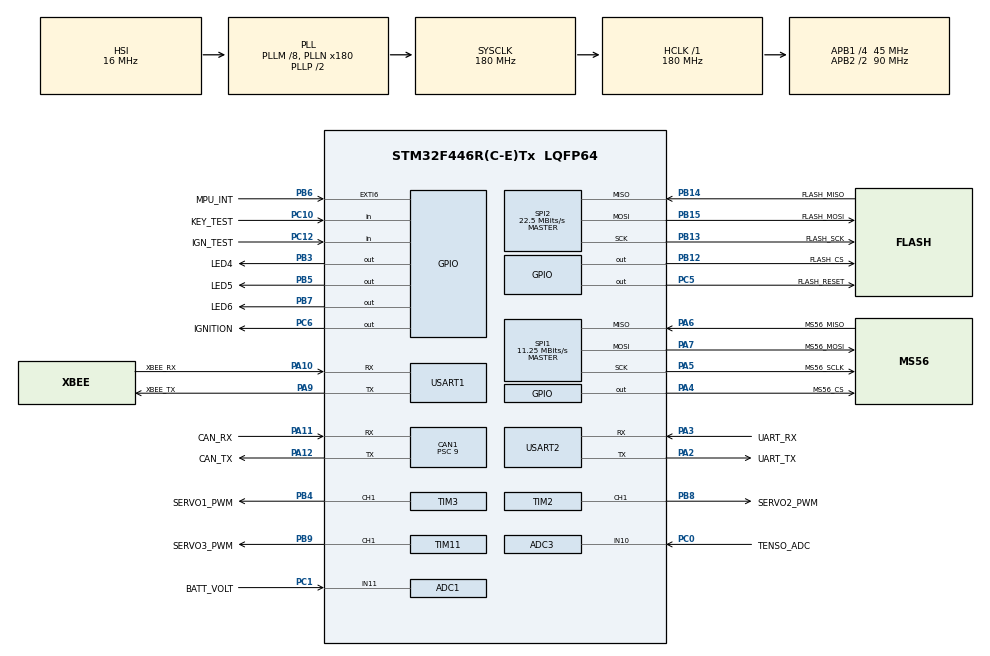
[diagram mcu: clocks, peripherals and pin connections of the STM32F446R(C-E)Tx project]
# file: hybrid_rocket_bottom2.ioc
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ADC1.Channel-0\#ChannelRegularConversion=ADC_CHANNEL_11
ADC1.ClockPrescaler=ADC_CLOCK_SYNC_PCLK_DIV8
ADC1.ContinuousConvMode=DISABLE
ADC1.DMAContinuousRequests=ENABLE
ADC1.DataAlign=ADC_DATAALIGN_RIGHT
ADC1.DiscontinuousConvMode=DISABLE
ADC1.EOCSelection=ADC_EOC_SINGLE_CONV
ADC1.EnableAnalogWatchDog=false
ADC1.ExternalTrigConv=ADC_EXTERNALTRIGCONV_T8_TRGO
ADC1.ExternalTrigConvEdge=ADC_EXTERNALTRIGCONVEDGE_RISING
ADC1.InjNumberOfConversion=0
ADC1.NbrOfConversion=1
ADC1.NbrOfConversionFlag=1
ADC1.Rank-0\#ChannelRegularConversion=1
ADC1.Resolution=ADC_RESOLUTION_12B
ADC1.SamplingTime-0\#ChannelRegularConversion=ADC_SAMPLETIME_480CYCLES
ADC1.ScanConvMode=DISABLE
ADC1.master=1
ADC3.Channel-0\#ChannelRegularConversion=ADC_CHANNEL_10
ADC3.ClockPrescaler=ADC_CLOCK_SYNC_PCLK_DIV8
ADC3.ContinuousConvMode=DISABLE
ADC3.DMAContinuousRequests=ENABLE
ADC3.DataAlign=ADC_DATAALIGN_RIGHT
ADC3.DiscontinuousConvMode=DISABLE
ADC3.EOCSelection=ADC_EOC_SINGLE_CONV
ADC3.EnableAnalogWatchDog=false
ADC3.ExternalTrigConv=ADC_EXTERNALTRIGCONV_T3_TRGO
ADC3.ExternalTrigConvEdge=ADC_EXTERNALTRIGCONVEDGE_RISING
ADC3.InjNumberOfConversion=0
ADC3.NbrOfConversion=1
ADC3.NbrOfConversionFlag=1
ADC3.Rank-0\#ChannelRegularConversion=1
ADC3.Resolution=ADC_RESOLUTION_12B
ADC3.SamplingTime-0\#ChannelRegularConversion=ADC_SAMPLETIME_480CYCLES
ADC3.ScanConvMode=DISABLE
CAN1.BS1=CAN_BS1_6TQ
CAN1.BS2=CAN_BS2_6TQ
CAN1.CalculateTimeBit=1066
CAN1.CalculateTimeQuantum=200.0
CAN1.Mode=CAN_MODE_NORMAL
CAN1.Prescaler=9
CAN1.RFLM=ENABLE
CAN1.TXFP=ENABLE
Dma.ADC1.5.Direction=DMA_PERIPH_TO_MEMORY
Dma.ADC1.5.FIFOMode=DMA_FIFOMODE_DISABLE
Dma.ADC1.5.Instance=DMA2_Stream4
Dma.ADC1.5.MemDataAlignment=DMA_MDATAALIGN_HALFWORD
Dma.ADC1.5.MemInc=DMA_MINC_ENABLE
Dma.ADC1.5.Mode=DMA_CIRCULAR
Dma.ADC1.5.PeriphDataAlignment=DMA_PDATAALIGN_HALFWORD
Dma.ADC1.5.PeriphInc=DMA_PINC_DISABLE
Dma.ADC1.5.Priority=DMA_PRIORITY_LOW
Dma.ADC3.4.Direction=DMA_PERIPH_TO_MEMORY
Dma.ADC3.4.FIFOMode=DMA_FIFOMODE_DISABLE
Dma.ADC3.4.Instance=DMA2_Stream1
Dma.ADC3.4.MemDataAlignment=DMA_MDATAALIGN_HALFWORD
Dma.ADC3.4.MemInc=DMA_MINC_ENABLE
Dma.ADC3.4.Mode=DMA_CIRCULAR
Dma.ADC3.4.PeriphDataAlignment=DMA_PDATAALIGN_HALFWORD
Dma.ADC3.4.PeriphInc=DMA_PINC_DISABLE
Dma.ADC3.4.Priority=DMA_PRIORITY_LOW
Dma.Request0=SPI1_RX
Dma.Request1=SPI1_TX
Dma.Request2=SPI2_RX
Dma.Request3=SPI2_TX
Dma.Request4=ADC3
Dma.Request5=ADC1
Dma.SPI1_RX.0.Direction=DMA_PERIPH_TO_MEMORY
Dma.SPI1_RX.0.FIFOMode=DMA_FIFOMODE_DISABLE
Dma.SPI1_RX.0.Instance=DMA2_Stream0
Dma.SPI1_RX.0.MemDataAlignment=DMA_MDATAALIGN_BYTE
Dma.SPI1_RX.0.MemInc=DMA_MINC_ENABLE
Dma.SPI1_RX.0.Mode=DMA_NORMAL
Dma.SPI1_RX.0.PeriphDataAlignment=DMA_PDATAALIGN_BYTE
Dma.SPI1_RX.0.PeriphInc=DMA_PINC_DISABLE
Dma.SPI1_RX.0.Priority=DMA_PRIORITY_LOW
Dma.SPI1_TX.1.Direction=DMA_MEMORY_TO_PERIPH
Dma.SPI1_TX.1.FIFOMode=DMA_FIFOMODE_DISABLE
Dma.SPI1_TX.1.Instance=DMA2_Stream3
Dma.SPI1_TX.1.MemDataAlignment=DMA_MDATAALIGN_BYTE
Dma.SPI1_TX.1.MemInc=DMA_MINC_ENABLE
Dma.SPI1_TX.1.Mode=DMA_NORMAL
Dma.SPI1_TX.1.PeriphDataAlignment=DMA_PDATAALIGN_BYTE
Dma.SPI1_TX.1.PeriphInc=DMA_PINC_DISABLE
Dma.SPI1_TX.1.Priority=DMA_PRIORITY_LOW
Dma.SPI2_RX.2.Direction=DMA_PERIPH_TO_MEMORY
Dma.SPI2_RX.2.FIFOMode=DMA_FIFOMODE_DISABLE
Dma.SPI2_RX.2.Instance=DMA1_Stream3
Dma.SPI2_RX.2.MemDataAlignment=DMA_MDATAALIGN_BYTE
Dma.SPI2_RX.2.MemInc=DMA_MINC_ENABLE
Dma.SPI2_RX.2.Mode=DMA_NORMAL
Dma.SPI2_RX.2.PeriphDataAlignment=DMA_PDATAALIGN_BYTE
Dma.SPI2_RX.2.PeriphInc=DMA_PINC_DISABLE
Dma.SPI2_RX.2.Priority=DMA_PRIORITY_LOW
Dma.SPI2_TX.3.Direction=DMA_MEMORY_TO_PERIPH
Dma.SPI2_TX.3.FIFOMode=DMA_FIFOMODE_DISABLE
Dma.SPI2_TX.3.Instance=DMA1_Stream4
Dma.SPI2_TX.3.MemDataAlignment=DMA_MDATAALIGN_BYTE
Dma.SPI2_TX.3.MemInc=DMA_MINC_ENABLE
Dma.SPI2_TX.3.Mode=DMA_NORMAL
Dma.SPI2_TX.3.PeriphDataAlignment=DMA_PDATAALIGN_BYTE
Dma.SPI2_TX.3.PeriphInc=DMA_PINC_DISABLE
Dma.SPI2_TX.3.Priority=DMA_PRIORITY_LOW
Mcu.Family=STM32F4
Mcu.Name=STM32F446R(C-E)Tx
Mcu.Package=LQFP64
NVIC.ADC_IRQn=true\:0\:0\:false\:false\:true\:true
NVIC.CAN1_RX0_IRQn=true\:0\:0\:false\:false\:true\:true
NVIC.CAN1_RX1_IRQn=true\:0\:0\:false\:false\:true\:true
NVIC.CAN1_TX_IRQn=true\:0\:0\:false\:false\:true\:true
NVIC.DMA1_Stream3_IRQn=true\:0\:0\:false\:false\:true\:false
NVIC.DMA1_Stream4_IRQn=true\:0\:0\:false\:false\:true\:false
NVIC.DMA2_Stream0_IRQn=true\:0\:0\:false\:false\:true\:false
NVIC.DMA2_Stream1_IRQn=true\:0\:0\:false\:false\:true\:false
NVIC.DMA2_Stream3_IRQn=true\:0\:0\:false\:false\:true\:false
NVIC.DMA2_Stream4_IRQn=true\:0\:0\:false\:false\:true\:false
NVIC.PriorityGroup=NVIC_PRIORITYGROUP_4
NVIC.SPI1_IRQn=true\:0\:0\:false\:false\:true\:true
NVIC.SPI2_IRQn=true\:0\:0\:false\:false\:true\:true
NVIC.TIM2_IRQn=true\:0\:0\:false\:false\:true\:true
NVIC.TIM3_IRQn=true\:0\:0\:false\:false\:true\:true
NVIC.TIM6_DAC_IRQn=true\:0\:0\:false\:false\:true\:true
NVIC.TIM8_UP_TIM13_IRQn=true\:0\:0\:false\:false\:true\:true
NVIC.USART1_IRQn=true\:0\:0\:false\:false\:true\:true
NVIC.USART2_IRQn=true\:0\:0\:false\:false\:true\:true
PA10.GPIO_Label=XBEE_RX
PA10.Mode=Asynchronous
PA10.Signal=USART1_RX
PA11.GPIO_Label=CAN_RX
PA11.Mode=Master
PA11.Signal=CAN1_RX
PA12.GPIO_Label=CAN_TX
PA12.Mode=Master
PA12.Signal=CAN1_TX
PA13.GPIO_Label=SWDIO
PA13.Mode=Serial_Wire
PA13.Signal=SYS_JTMS-SWDIO
PA14.GPIO_Label=SWCLK
PA14.Mode=Serial_Wire
PA14.Signal=SYS_JTCK-SWCLK
PA2.GPIO_Label=UART_TX
PA2.Mode=Asynchronous
PA2.Signal=USART2_TX
PA3.GPIO_Label=UART_RX
PA3.Mode=Asynchronous
PA3.Signal=USART2_RX
PA4.GPIO_Label=MS56_CS
PA4.Signal=GPIO_Output
PA5.GPIO_Label=MS56_SCLK
PA5.Mode=Full_Duplex_Master
PA5.Signal=SPI1_SCK
PA6.GPIO_Label=MS56_MISO
PA6.GPIO_PuPd=GPIO_NOPULL
PA6.Mode=Full_Duplex_Master
PA6.Signal=SPI1_MISO
PA7.GPIO_Label=MS56_MOSI
PA7.Mode=Full_Duplex_Master
PA7.Signal=SPI1_MOSI
PA9.GPIO_Label=XBEE_TX
PA9.Mode=Asynchronous
PA9.Signal=USART1_TX
PB12.GPIO_Label=FLASH_CS
PB12.Signal=GPIO_Output
PB13.GPIO_Label=FLASH_SCK
PB13.Mode=Full_Duplex_Master
PB13.Signal=SPI2_SCK
PB14.GPIO_Label=FLASH_MISO
PB14.Mode=Full_Duplex_Master
PB14.Signal=SPI2_MISO
PB15.GPIO_Label=FLASH_MOSI
PB15.Mode=Full_Duplex_Master
PB15.Signal=SPI2_MOSI
PB3.GPIO_Label=LED4
PB3.Signal=GPIO_Output
PB4.GPIO_Label=SERVO1_PWM
PB4.Signal=S_TIM3_CH1
PB5.GPIO_Label=LED5
PB5.Signal=GPIO_Output
PB6.GPIO_Label=MPU_INT
PB6.Signal=GPXTI6
PB7.GPIO_Label=LED6
PB7.Signal=GPIO_Output
PB8.GPIO_Label=SERVO2_PWM
PB8.Signal=S_TIM2_CH1_ETR
PB9.GPIO_Label=SERVO3_PWM
PB9.Signal=S_TIM11_CH1
PC0.GPIO_Label=TENSO_ADC
PC0.Signal=ADCx_IN10
PC1.GPIO_Label=BATT_VOLT
PC1.Signal=ADCx_IN11
PC10.GPIO_Label=KEY_TEST
PC10.GPIO_PuPd=GPIO_PULLUP
PC10.Signal=GPIO_Input
PC12.GPIO_Label=IGN_TEST
PC12.GPIO_PuPd=GPIO_PULLUP
PC12.Signal=GPIO_Input
PC5.GPIO_Label=FLASH_RESET
PC5.PinState=GPIO_PIN_SET
PC5.Signal=GPIO_Output
PC6.GPIO_Label=IGNITION
PC6.Signal=GPIO_Output
PH0-OSC_IN.Signal=RCC_OSC_IN
PH1-OSC_OUT.Signal=RCC_OSC_OUT
ProjectManager.HeapSize=0x200
ProjectManager.StackSize=0x400
ProjectManager.TargetToolchain=SW4STM32
RCC.AHBFreq_Value=180000000
RCC.APB1CLKDivider=RCC_HCLK_DIV4
RCC.APB1Freq_Value=45000000
RCC.APB1TimFreq_Value=90000000
RCC.APB2CLKDivider=RCC_HCLK_DIV2
RCC.APB2Freq_Value=90000000
RCC.APB2TimFreq_Value=180000000
RCC.CortexFreq_Value=180000000
RCC.HCLKFreq_Value=180000000
RCC.HSE_VALUE=0.0000080
RCC.PLLM=8
RCC.PLLN=180
RCC.PLLQ=8
RCC.SYSCLKFreq_VALUE=180000000
RCC.SYSCLKSource=RCC_SYSCLKSOURCE_PLLCLK
RCC.USBFreq_Value=45000000
RCC.VCOOutputFreq_Value=360000000
SH.ADCx_IN10.0=ADC3_IN10,IN10
SH.ADCx_IN10.1=ADC2_IN10
SH.ADCx_IN11.0=ADC1_IN11,IN11
SH.S_TIM11_CH1.0=TIM11_CH1,PWM Generation1 CH1
SH.S_TIM2_CH1_ETR.0=TIM2_CH1,PWM Generation1 CH1
SH.S_TIM3_CH1.0=TIM3_CH1,PWM Generation1 CH1
SPI1.BaudRatePrescaler=SPI_BAUDRATEPRESCALER_8
SPI1.CalculateBaudRate=11.25 MBits/s
SPI1.Direction=SPI_DIRECTION_2LINES
SPI1.Mode=SPI_MODE_MASTER
SPI1.VirtualType=VM_MASTER
SPI2.BaudRatePrescaler=SPI_BAUDRATEPRESCALER_2
SPI2.CLKPhase=SPI_PHASE_1EDGE
SPI2.CLKPolarity=SPI_POLARITY_LOW
SPI2.CalculateBaudRate=22.5 MBits/s
SPI2.Direction=SPI_DIRECTION_2LINES
SPI2.Mode=SPI_MODE_MASTER
SPI2.VirtualType=VM_MASTER
TIM11.Channel=TIM_CHANNEL_1
TIM11.Period=0
TIM11.Prescaler=0
TIM2.Channel-PWM\ Generation1\ CH1=TIM_CHANNEL_1
TIM2.Period=99
TIM2.Prescaler=17999
TIM2.TIM_MasterOutputTrigger=TIM_TRGO_RESET
TIM3.Channel-PWM\ Generation1\ CH1=TIM_CHANNEL_1
TIM3.Period=99
TIM3.Prescaler=17999
TIM3.TIM_MasterOutputTrigger=TIM_TRGO_UPDATE
TIM6.Period=8999
TIM6.Prescaler=9999
TIM8.Period=99
TIM8.Prescaler=17999
TIM8.TIM_MasterOutputTrigger=TIM_TRGO_UPDATE
USART1.VirtualMode=VM_ASYNC
USART2.VirtualMode=VM_ASYNC
VP_CRC_VS_CRC.Mode=CRC_Activate
VP_TIM11_VS_ClockSourceINT.Mode=Enable_Timer
VP_TIM2_VS_ClockSourceINT.Mode=Internal
VP_TIM6_VS_ClockSourceINT.Mode=Enable_Timer
VP_TIM8_VS_ClockSourceINT.Mode=Internal
board=hybrid_rocket_bottom2

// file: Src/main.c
/**
  ******************************************************************************
  * @file           : main.c
  * @brief          : Main program body
  ******************************************************************************
  ** This notice applies to any and all portions of this file
  * that are not between comment pairs USER CODE BEGIN and
  * USER CODE END. Other portions of this file, whether
  * inserted by the user or by software development tools
  * are owned by their respective copyright owners.
  *
  * COPYRIGHT(c) 2019 STMicroelectronics
  *
  * Redistribution and use in source and binary forms, with or without modification,
  * are permitted provided that the following conditions are met:
  *   1. Redistributions of source code must retain the above copyright notice,
  *      this list of conditions and the following disclaimer.
  *   2. Redistributions in binary form must reproduce the above copyright notice,
  *      this list of conditions and the following disclaimer in the documentation
  *      and/or other materials provided with the distribution.
  *   3. Neither the name of STMicroelectronics nor the names of its contributors
  *      may be used to endorse or promote products derived from this software
  *      without specific prior written permission.
  *
  * THIS SOFTWARE IS PROVIDED BY THE COPYRIGHT HOLDERS AND CONTRIBUTORS "AS IS"
  * AND ANY EXPRESS OR IMPLIED WARRANTIES, INCLUDING, BUT NOT LIMITED TO, THE
  * IMPLIED WARRANTIES OF MERCHANTABILITY AND FITNESS FOR A PARTICULAR PURPOSE ARE
  * DISCLAIMED. IN NO EVENT SHALL THE COPYRIGHT HOLDER OR CONTRIBUTORS BE LIABLE
  * FOR ANY DIRECT, INDIRECT, INCIDENTAL, SPECIAL, EXEMPLARY, OR CONSEQUENTIAL
  * DAMAGES (INCLUDING, BUT NOT LIMITED TO, PROCUREMENT OF SUBSTITUTE GOODS OR
  * SERVICES; LOSS OF USE, DATA, OR PROFITS; OR BUSINESS INTERRUPTION) HOWEVER
  * CAUSED AND ON ANY THEORY OF LIABILITY, WHETHER IN CONTRACT, STRICT LIABILITY,
  * OR TORT (INCLUDING NEGLIGENCE OR OTHERWISE) ARISING IN ANY WAY OUT OF THE USE
  * OF THIS SOFTWARE, EVEN IF ADVISED OF THE POSSIBILITY OF SUCH DAMAGE.
  *
  ******************************************************************************
  */
#include "main.h"
#include "stm32f4xx_hal.h"
#include "adc.h"
#include "can.h"
#include "crc.h"
#include "dma.h"
#include "spi.h"
#include "tim.h"
#include "usart.h"
#include "gpio.h"

/* USER CODE BEGIN Includes */
#include "SS_MS5607.h"
#include "SS_Grazyna_xbee.h"
#include "SS_it.h"
#include "SS_support.h"
#include "SS_servos.h"
#include "math.h"
#include "SS_ignition.h"
#include "SS_can.h"
#include "SS_Borys_adc.h"
#include "SS_S25FL.h"
#include "SS_Borys_adc.h"
/* USER CODE END Includes */

/* USER CODE BEGIN PV */
/* Private variables ---------------------------------------------------------*/
uint8_t Received;
uint32_t raw_tenso;
uint32_t scaled_tenso;
uint32_t tmp;
uint32_t scaled_tenso_av;
//uint32_t scaled_tenso_av_prev = 0;
uint32_t wbytes;
//FATFS fatfs;
//FIL measurement_file;
//FRESULT result;
uint8_t differenceTenso = 0;
int16_t close_servo_altitude = 2500;
int32_t average_altitude = 0;
struct MS5607 ms5607;
uint8_t SET_ALTITUDE = 0;
int32_t can_data;
int32_t ref_pres;
/* USER CODE END PV */

void SystemClock_Config(void);

/* USER CODE BEGIN PFP */
/* Private function prototypes -----------------------------------------------*/

/* USER CODE END PFP */

int main(void)
{
  /* USER CODE BEGIN 1 */
	 uint8_t fly_stage;

	 int32_t altitude_rocket = 0;
	 int32_t pressure_rocket = 0;
	 int16_t average_pressure = 0;
	 int32_t prev_avarage_altitude = 80000000;
	 uint8_t arrays[2];
	 uint8_t data[8];
	 uint8_t sprint_length;
	 uint8_t i = 0;
	 uint32_t counter_can = 0;
	 uint8_t counter = 0;
  /* USER CODE END 1 */

  /* MCU Configuration----------------------------------------------------------*/

  /* Reset of all peripherals, Initializes the Flash interface and the Systick. */
  HAL_Init();

  /* Configure the system clock */
  SystemClock_Config();

  /* Initialize all configured peripherals */
  MX_GPIO_Init();
  MX_DMA_Init();
  MX_ADC1_Init();
  MX_CAN1_Init();
  MX_SPI2_Init();
  MX_TIM2_Init();
  MX_TIM3_Init();
  MX_USART1_UART_Init();
  MX_USART2_UART_Init();
  MX_SPI1_Init();
  MX_TIM6_Init();
  MX_TIM11_Init();
  MX_ADC3_Init();
  MX_TIM8_Init();
  MX_CRC_Init();
  /* USER CODE BEGIN 2 */

  	 HAL_TIM_Base_Start_IT(&htim6);

  	 HAL_ADC_Start_IT(&hadc3);
  	 //HAL_ADC_Start(&hadc1);
	 SS_MS56_init(&ms5607);
	 SS_grazyna_init();
	 SS_can_start();
	 SS_s25fl_reset();
	 SS_borys_adc_init();
	 HAL_GPIO_WritePin(IGNITION_GPIO_Port,IGNITION_Pin,RESET);
	 SS_servo_init_all();
	 //close_servo_altitude = 2600;

	 /*  result = f_mount(&fatfs, "", 0);
  	result = f_open(&measurement_file, "Staszek.txt", FA_CREATE_ALWAYS | FA_WRITE);
  	result = f_write(&measurement_file, "chuuuuuj\n", 6, (void *)&wbytes);
  	result = f_close(&measurement_file);
  	SS_borys_adc_init();
*/
	  	while(i<=10)
		{
			SS_MS56_read_convert_non_polling(&ms5607);
			SS_MS56_calculate_average_press(&ms5607, 10);
			if(ms56_stage == 0)
				 i++;
		}
  		SS_MS56_set_ref_press(&ms5607);
  		ref_pres = SS_MS56_get_ref_press(&ms5607);

  /* USER CODE END 2 */

  /* Infinite loop */
  while (1)
  {

  /* USER CODE BEGIN 3 */
/*
 *
	 		  	  HAL_ADC_PollForConversion(&hadc1,500);
	 		  	  raw_tenso=HAL_ADC_GetValue(&hadc1);
	 		  	  scaled_tenso=100.0*(200.0*((3.3*raw_tenso/4.0950)/247.42)/10.0);
	 		  	  HAL_ADC_Start(&hadc1);
	 		 	  if(n<20)
	 		 	  {
	 		 		  n++;
	 		 		  tmp += scaled_tenso;
	 			  }
	 		 	  else
	 		 	  {

	 		 		  scaled_tenso_av = tmp/2000.0;
	 		 		  n=0;
	 		 		  tmp = 0;
	 		 	  }

		  HAL_ADC_PollForConversion(&hadc1,500);
		  raw_tenso=HAL_ADC_GetValue(&hadc1);
		  scaled_tenso=100.0*(10.0*((3.3*raw_tenso/4.0950)/247.42)/9.0);
		  size = sprintf(data, "%d\n\r", scaled_tenso);
		  HAL_UART_Transmit(&huart2,data,size,500);
		  HAL_ADC_Start(&hadc1);
*/

	  	  //HAL_GPIO_TogglePin(LED4_GPIO_Port,LED4_Pin);
	  	  //SS_can_tx_no_data(CAN_CZAPLA_ON);
	  	  //HAL_Delay(1000);
	  	  //SS_can_tx_no_data(CAN_CZAPLA_OFF);
	  	  //HAL_Delay(1000);
		//SS_can_tx_no_data(CAN_ROMEK_TEST_CAN);
	  	  //SS_MS56_read_convert(&ms5607);

	  	  //SS_can_tx_no_data(CAN_SENSEI_INCLINATION);
	  	  //HAL_Delay(400);
	 // HAL_GPIO_WritePin(LED4_GPIO_Port,LED4_Pin,SET);
	  	  if(SS_grazyna_get_valid_rcv_flag())
		  {
			  SS_grazyna_handle_received();
		  }

		  SS_MS56_read_convert_non_polling(&ms5607);

		  //ALTITUDE
		  ///////zmienic pod grazyne zeby dzialala, zwmienic pomiar ms5607 cisnienie podczas startu
		  ////////////
		  ////////////
		  //////////
		  ///////////
		  //////////

		  SS_servo_oxidizer_open();
		  HAL_Delay(2000);
		  SS_servo_oxidizer_close();
		  //PRESSURE
		  pressure_rocket = SS_MS56_get_read_convert(&ms5607);
		  SS_MS56_calculate_average_press(&ms5607,3);
		  average_pressure = SS_MS56_get_average_press(&ms5607);

		  altitude_rocket = SS_MS56_get_altitude(&ms5607);
	  	  SS_MS56_calculate_average_altitiude(&ms5607,3);
		  average_altitude = SS_MS56_get_average_altitude(&ms5607);
		  //HAL_UART_Transmit(&huart2,0x0F,20100);
  		  SS_MS56_calculate_altitude_flash(&ms5607);

		 /* if(TEST_OPEN_SERVO)
		  {
			  SS_can_tx_no_data(CAN_SENSEI_LECIM);
			  TEST_OPEN_SERVO=0;
		  }*/
		  if(ERASE_FLASH)
		  {
				HAL_GPIO_WritePin(LED5_GPIO_Port,LED5_Pin,SET);
				SS_s25fl_erase_full_chip();
				HAL_GPIO_WritePin(LED4_GPIO_Port,LED4_Pin,SET);
				HAL_GPIO_WritePin(LED5_GPIO_Port,LED5_Pin,RESET);
		  }
	 	  if(WRITE_FLASH)
	  	  {
	 		  HAL_GPIO_WritePin(LED6_GPIO_Port,LED6_Pin,SET);
	  		  SS_MS56_calculate_average_press_flash(&ms5607,5);
	  		  SS_MS56_calculate_altitude_flash(&ms5607);
	  		  SS_MS56_calculate_average_temp_flash(&ms5607,5);
	 		  /*if(zmienna==1)
	 		  {
	  		  SS_MS56_calculate_tenso_flash();
	  		  zmienna = 0;
	 		  }*/

	  	  }
	 	  if(TEST_STASZEK_SENSEI_MES)
	 	  {

	 		  if(counter_can >= 5000)
	 		  {
		 		  SS_can_tx_no_data(CAN_STASZEK_SENSEI_MES);
		 		  TEST_STASZEK_SENSEI_MES = 0;
		 		  counter_can = 0;
		 		  counter++;
		 		  if(counter == 5)
		 		  {
		 			  TEST_STASZEK_SENSEI_MES = 0;
		 		  }
	 		  }
	 		  counter_can++;

	 	  }
	 	 /* if(SERVO_OPENED)
	  	  {

	  		  int8_t cnt1 = 1;
	  		  if(prev_avarage_altitude > average_altitude)
	  		  {
	  			  //HAL_GPIO_WritePin(LED4_GPIO_Port,LED4_Pin,SET);
	  			  cnt1++;
	  			  prev_avarage_altitude = average_altitude;
	  		  }
	  		  else if(cnt1>0) cnt1--;

	  		  if(cnt1 > 10)
	  		  {
	  			SS_servo_oxidizer_close();
	  			SS_can_tx_no_data(CAN_SENSEI_ENGINE_OFF);
	  			//HAL_GPIO_WritePin(LED6_GPIO_Port,LED6_Pin,SET);
	  		  }
	  	  }*/
	 	  /*if(SERVO_OPENED)
	 	  {

	 	 	 if(average_altitude > close_servo_altitude)
				{
				 SS_servo_oxidizer_close();
				 //SS_can_tx_no_data(CAN_SENSEI_ENGINE_OFF);
				}
	 	  }*/
//	 	  if(STASZEK_ZAMYKAMY)
//	 	  {
//	 		 SS_servo_oxidizer_close();
//	 	  }

  }
  /* USER CODE END 3 */

}

void SystemClock_Config(void)
{

  RCC_OscInitTypeDef RCC_OscInitStruct;
  RCC_ClkInitTypeDef RCC_ClkInitStruct;

    /**Configure the main internal regulator output voltage
    */
  __HAL_RCC_PWR_CLK_ENABLE();

  __HAL_PWR_VOLTAGESCALING_CONFIG(PWR_REGULATOR_VOLTAGE_SCALE1);

    /**Initializes the CPU, AHB and APB busses clocks
    */
  RCC_OscInitStruct.OscillatorType = RCC_OSCILLATORTYPE_HSI;
  RCC_OscInitStruct.HSIState = RCC_HSI_ON;
  RCC_OscInitStruct.HSICalibrationValue = 16;
  RCC_OscInitStruct.PLL.PLLState = RCC_PLL_ON;
  RCC_OscInitStruct.PLL.PLLSource = RCC_PLLSOURCE_HSI;
  RCC_OscInitStruct.PLL.PLLM = 8;
  RCC_OscInitStruct.PLL.PLLN = 180;
  RCC_OscInitStruct.PLL.PLLP = RCC_PLLP_DIV2;
  RCC_OscInitStruct.PLL.PLLQ = 8;
  RCC_OscInitStruct.PLL.PLLR = 2;
  if (HAL_RCC_OscConfig(&RCC_OscInitStruct) != HAL_OK)
  {
    _Error_Handler(__FILE__, __LINE__);
  }

    /**Activate the Over-Drive mode
    */
  if (HAL_PWREx_EnableOverDrive() != HAL_OK)
  {
    _Error_Handler(__FILE__, __LINE__);
  }

    /**Initializes the CPU, AHB and APB busses clocks
    */
  RCC_ClkInitStruct.ClockType = RCC_CLOCKTYPE_HCLK|RCC_CLOCKTYPE_SYSCLK
                              |RCC_CLOCKTYPE_PCLK1|RCC_CLOCKTYPE_PCLK2;
  RCC_ClkInitStruct.SYSCLKSource = RCC_SYSCLKSOURCE_PLLCLK;
  RCC_ClkInitStruct.AHBCLKDivider = RCC_SYSCLK_DIV1;
  RCC_ClkInitStruct.APB1CLKDivider = RCC_HCLK_DIV4;
  RCC_ClkInitStruct.APB2CLKDivider = RCC_HCLK_DIV2;

  if (HAL_RCC_ClockConfig(&RCC_ClkInitStruct, FLASH_LATENCY_5) != HAL_OK)
  {
    _Error_Handler(__FILE__, __LINE__);
  }

    /**Configure the Systick interrupt time
    */
  HAL_SYSTICK_Config(HAL_RCC_GetHCLKFreq()/1000);

    /**Configure the Systick
    */
  HAL_SYSTICK_CLKSourceConfig(SYSTICK_CLKSOURCE_HCLK);

  /* SysTick_IRQn interrupt configuration */
  HAL_NVIC_SetPriority(SysTick_IRQn, 0, 0);
}

void _Error_Handler(char *file, int line)
{
  while(1)
  {
  }
}

/************************ (C) COPYRIGHT STMicroelectronics *****END OF FILE****/
